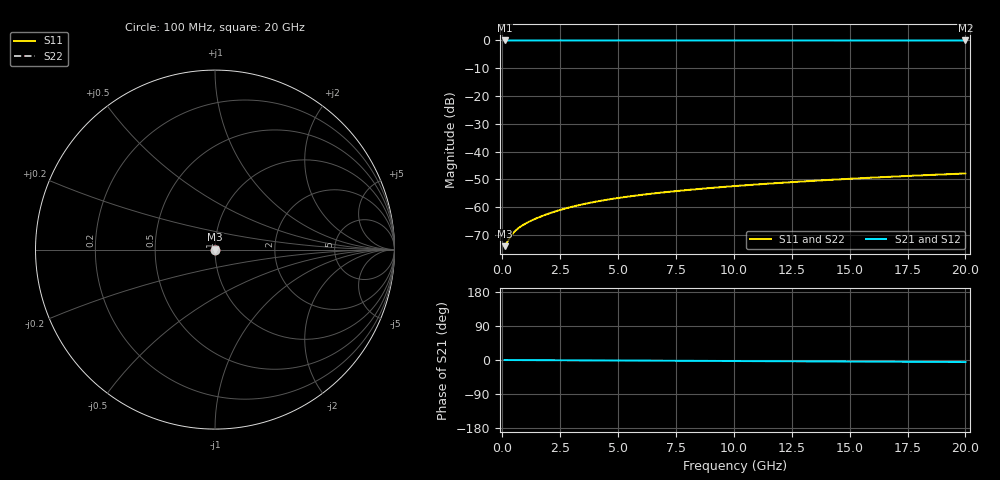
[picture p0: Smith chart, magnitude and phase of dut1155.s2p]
! Touchstone file exported from HFSS 2026.1.0
!  File:  C:/ffzhzh/LocalFiles/Ansys_Project_Files/temp_train_TSV_1155_1783191654_43440.aedt
!  Generated:  03:02:26 AM Jul  5, 2026
!  Design:  TSV
!  Project:  temp_train_TSV_1155_1783191654_43440
! Variables:
!  h_bsmrdl = 2um
!  h_ox = 20um
!  h_rdl = 5um
!  h_sub = 54.14um
!  h_tmrdl = 5um
!  h_tsv = 54.14um
!  h_via = 3um
!  l_bsmrdl = 300um
!  l_sub = 412.82um
!  l_tmrdl = 200um
!  m_sub = 200um
!  pitch = 27.13um
!  r_tsv = 6.41um
!  s_tmrdl = 10um
!  w_bsmrdl = 18um
!  w_sub = 500um
!  w_tmrdl = 12um
!  x_tsv_center1 = 206um
!  x_tsv_center2 = 524um
!  x_tsv_center3 = 736um
!  x_tsv_center4 = 1054um
!  x_tsv_center5 = 1266um
!  x_tsv_center6 = 1584um
# GHz S MA R 50.000000
! Terminal data exported
! Port[1] = TSV1_1_T1
! Port[2] = TSV1_1_T2
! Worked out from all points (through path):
!   200 points, 100 MHz to 20 GHz, reference 50 ohm
!   highest |S21| = 0.00 dB at 100 MHz (marker M1); lowest = 0.0 dB at 20 GHz (marker M2)
!   lowest |S11| = -74.0 dB at 100 MHz (marker M3), VSWR 1.00, Z = 50 + j0.00584 ohm
!   |S11| at or under -10 dB: start of sweep to end of sweep
!   |S22| runs from -74.0 to -47.8 dB; largest |S21 - S12| = 4.6e-15
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0.1  0.0001997 17.0  0.9998 -0.0  0.9998 -0.0  0.0001997 17.0
! Gamma 0 0 0 0
! Port Impedance 50 0 50 0
0.3  0.0002741 36.0  0.9998 -0.1  0.9998 -0.1  0.0002741 36.0
0.4  0.0003156 40.0  0.9998 -0.1  0.9998 -0.1  0.0003156 40.0
0.5  0.0003543 42.4  0.9997 -0.1  0.9997 -0.1  0.0003543 42.4
0.6  0.0003897 44.1  0.9997 -0.2  0.9997 -0.2  0.0003897 44.1
0.8  0.0004524 46.6  0.9997 -0.2  0.9997 -0.2  0.0004524 46.6
1.1  0.0005355 49.7  0.9996 -0.3  0.9996 -0.3  0.0005355 49.7
1.3  0.0005879 51.4  0.9996 -0.4  0.9996 -0.4  0.0005879 51.4
1.6  0.0006654 53.7  0.9996 -0.4  0.9996 -0.4  0.0006654 53.7
2.2  0.000819 56.9  0.9996 -0.6  0.9996 -0.6  0.000819 56.9
2.8  0.0009694 58.9  0.9995 -0.8  0.9995 -0.8  0.0009694 58.9
3.5  0.001138 60.2  0.9994 -1.0  0.9994 -1.0  0.001138 60.2
4.2  0.001297 61.0  0.9994 -1.2  0.9994 -1.2  0.001297 61.0
5  0.001468 61.6  0.9993 -1.4  0.9993 -1.4  0.001468 61.6
5.8  0.00163 62.1  0.9993 -1.6  0.9993 -1.6  0.00163 62.1
6.8  0.001823 62.6  0.9992 -1.9  0.9992 -1.9  0.001823 62.6
8.3  0.002099 63.3  0.9991 -2.3  0.9991 -2.3  0.002099 63.3
10.1  0.002419 64.0  0.999 -2.7  0.999 -2.7  0.002419 64.0
11.7  0.002696 64.5  0.999 -3.2  0.999 -3.2  0.002696 64.5
13.4  0.002985 64.9  0.9989 -3.6  0.9989 -3.6  0.002985 64.9
16.7  0.00353 65.2  0.9988 -4.5  0.9988 -4.5  0.00353 65.2
20  0.004051 65.1  0.9986 -5.4  0.9986 -5.4  0.004051 65.1
